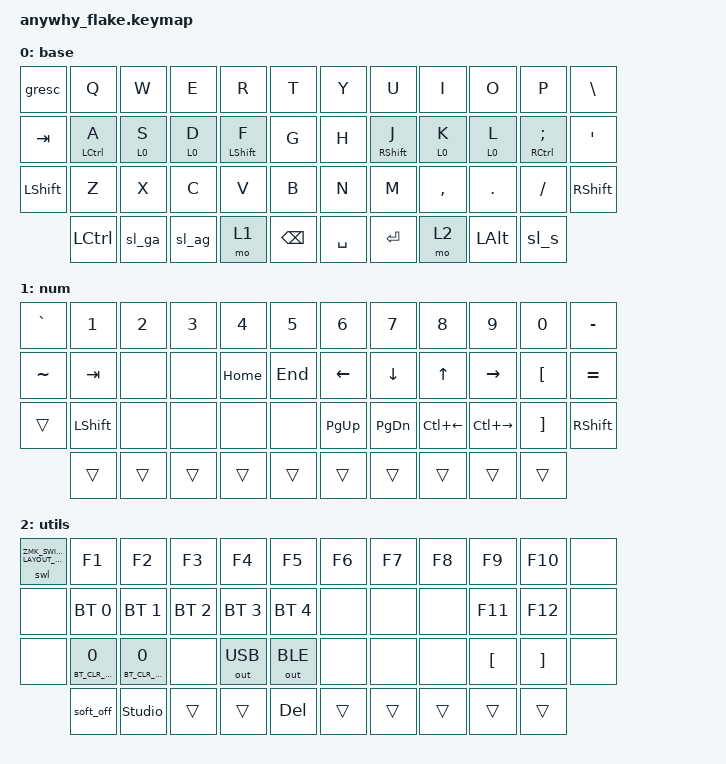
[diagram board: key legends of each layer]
#include <behaviors.dtsi>
#include <dt-bindings/zmk/bt.h>
#include <dt-bindings/zmk/keys.h>
#include <dt-bindings/zmk/outputs.h>
#include <dt-bindings/zmk-switch-layout/switch-layout.h>

&soft_off { hold-time-ms = <2000>; };

#define XXX &none
#define TODO ___
#define ___ &trans
#define NL ZMK_SWITCH_LAYOUT_NEXT

// Home Row Modifiers config
// Inspired by Urob's Timeless HRM config
// https://github.com/urob/zmk-config
#define KEYS_L 46 47 48 49 50 51 0 1 2 3 4 5 12 13 14 15 16 17 24 25 26 27 28 29   // left hand
#define KEYS_R 52 53 54 55 56 57 6 7 8 9 10 11 18 19 20 21 22 23 30 31 32 33 34 35 // right hand
#define THUMBS 36 37 38 39 40 41 42 43 44 45                                       // thumbs

#define TAPPING_TERM_MS 250
#define QUICK_TAP_MS 175
#define PRIOR_IDLE_MS 150

// Macro templates for hold-tap HRM behaviors
// HRM_KP: standard 2-cell hold-tap (hold=kp, tap=kp) with given trigger positions
#define HRM_KP(NAME, LABEL, TRIGGER_POSITIONS) \
    NAME: LABEL { \
        compatible = "zmk,behavior-hold-tap"; \
        #binding-cells = <2>; \
        flavor = "balanced"; \
        tapping-term-ms = <TAPPING_TERM_MS>; \
        quick-tap-ms = <QUICK_TAP_MS>; \
        require-prior-idle-ms = <PRIOR_IDLE_MS>; \
        bindings = <&kp>, <&kp>; \
        hold-trigger-key-positions = <TRIGGER_POSITIONS>; \
        hold-trigger-on-release; \
        retro-tap; \
    };
// HRM_SL: layout-aware hold-tap (hold=switch-layout-key, tap=kp) with given trigger positions
// The first param (hold) is forwarded to the switch-layout-key behavior which ignores it.
#define HRM_SL(NAME, LABEL, HOLD_BEH, TRIGGER_POSITIONS) \
    NAME: LABEL { \
        compatible = "zmk,behavior-hold-tap"; \
        #binding-cells = <2>; \
        flavor = "balanced"; \
        tapping-term-ms = <TAPPING_TERM_MS>; \
        quick-tap-ms = <QUICK_TAP_MS>; \
        require-prior-idle-ms = <PRIOR_IDLE_MS>; \
        bindings = <HOLD_BEH>, <&kp>; \
        hold-trigger-key-positions = <TRIGGER_POSITIONS>; \
        hold-trigger-on-release; \
        retro-tap; \
    };

// SL: switch-layout-key with given keycodes for each layout (layout0, layout1)
#define SL(NAME, LABEL, KEY0, KEY1) \
    NAME: LABEL { \
        compatible = "zmk-switch-layout,behavior-switch-layout-key"; \
        #binding-cells = <0>; \
        bindings = <&kp KEY0>, <&kp KEY1>; \
    };

/ {
    behaviors {
        // Switch layout behavior, used for switching between Windows and Mac layouts
        swl: switch_layout {
            compatible = "zmk-switch-layout,behavior-switch-layout-mode";
            #binding-cells = <1>;
            layout-count = <2>;
            default-layout = <0>;
        };
        sl_s: switch_layout_snapshot {
            compatible = "zmk-switch-layout,behavior-switch-layout-key";
            #binding-cells = <0>;
            bindings = <&snap_win>, <&snap_mac_clip>;
        };
        // Switch Layout keys: (Eg. swap LGUI for Windows and LALT for Mac)
        SL(sl_ga, switch_layout_gui_alt, LGUI, LALT)
        SL(sl_ag, switch_layout_alt_gui, LALT, LGUI)

        // Define standard HRM behaviors like Tap for A, hold for LCTRL, etc. for both hands, using the HRM_KP macro template. The trigger positions are set to the home row keys
        HRM_KP(hml, hml, KEYS_R THUMBS)
        HRM_KP(hmr, hmr, KEYS_L THUMBS)
        // Layout-aware HRM variants: Tap sends keycode, hold sends LGUI (Win) or LALT (Mac) and vice-versa
        HRM_SL(hml_ga, hml_gui_alt, &sl_ga, KEYS_R THUMBS)
        HRM_SL(hml_ag, hml_alt_gui, &sl_ag, KEYS_R THUMBS)
        HRM_SL(hmr_ga, hmr_gui_alt, &sl_ga, KEYS_L THUMBS)
        HRM_SL(hmr_ag, hmr_alt_gui, &sl_ag, KEYS_L THUMBS)

        // Hold-to-activate for destructive BT actions (hold=&bt, tap=kp 0 = HID reserved/noop)
        bt_clr: bt_clear_hold_tap {
            compatible = "zmk,behavior-hold-tap";
            #binding-cells = <2>;
            tapping-term-ms = <2000>;
            flavor = "hold-preferred";
            bindings = <&bt>, <&kp>;
        };
    };

    chosen {
        zmk,kscan = &kscan0;
        zmk,physical-layout = &medium_layout;
    };

    macros {
        snap_win: snapshot_win {
            compatible = "zmk,behavior-macro";
            #binding-cells = <0>;
            bindings =
                <&macro_press>,
                <&kp LEFT_WIN &kp LEFT_SHIFT>,
                <&macro_tap>,
                <&kp S>,
                <&macro_release>,
                <&kp LEFT_WIN &kp LEFT_SHIFT>;

            label = "SNAPSHOT_WIN";
        };

        snap_mac_clip: snapshot_mac_clip {
            compatible = "zmk,behavior-macro";
            #binding-cells = <0>;
            bindings =
                <&macro_press>,
                <&kp LEFT_COMMAND &kp LEFT_CONTROL &kp LEFT_SHIFT>,
                <&macro_tap>,
                <&kp NUMBER_4>,
                <&macro_release>,
                <&kp LEFT_COMMAND &kp LEFT_CONTROL &kp LEFT_SHIFT>;

            label = "SNAPSHOT_MAC_CLIP";
        };

        snap_mac_file: snapshot_mac_file {
            compatible = "zmk,behavior-macro";
            #binding-cells = <0>;
            bindings =
                <&macro_press>,
                <&kp LEFT_COMMAND &kp LEFT_SHIFT>,
                <&macro_tap>,
                <&kp NUMBER_4>,
                <&macro_release>,
                <&kp LEFT_COMMAND &kp LEFT_SHIFT>;

            label = "SNAPSHOT_MAC_FILE";
        };
    };

    keymap {
        compatible = "zmk,keymap";

        base {
            bindings = <
&gresc      &kp Q         &kp W        &kp E        &kp R        &kp T               &kp Y      &kp U         &kp I        &kp O        &kp P            &kp BSLH
&kp TAB     &hml LCTRL A  &hml_ga 0 S  &hml_ag 0 D  &hml LSHFT F &kp G               &kp H      &hmr RSHFT J  &hmr_ga 0 K  &hmr_ag 0 L  &hmr RCTRL SEMI  &kp APOS
&kp LSHFT   &kp Z         &kp X        &kp C        &kp V        &kp B               &kp N      &kp M         &kp COMMA    &kp DOT      &kp FSLH         &kp RSHFT
            &kp LCTRL     &sl_ga       &sl_ag       &mo 1        &kp BACKSPACE       &kp SPACE  &kp ENTER     &mo 2        &kp LALT     &sl_s
            >;
        };

        num {
            bindings = <
&kp GRAVE   &kp N1      &kp N2       &kp N3    &kp N4    &kp N5            &kp N6     &kp N7       &kp N8         &kp N9        &kp N0     &kp MINUS
&kp TILDE   &kp TAB     &none        &none     &kp HOME  &kp END           &kp LEFT   &kp DOWN     &kp UP         &kp RIGHT     &kp LBKT   &kp EQUAL
&trans      &kp LSHFT   &none        &none     &none     &none             &kp PG_UP  &kp PG_DN    &kp LC(LEFT)   &kp LC(RIGHT) &kp RBKT    &kp RSHFT
            &trans      &trans       &trans    &trans    &trans            &trans     &trans       &trans         &trans        &trans
            >;
        };

        utils {
        bindings = <
&swl NL &kp F1           &kp F2               &kp F3        &kp F4        &kp F5             &kp F6  &kp F7      &kp F8        &kp F9        &kp F10     &none
&none   &bt BT_SEL 0     &bt BT_SEL 1         &bt BT_SEL 2  &bt BT_SEL 3  &bt BT_SEL 4       &none   &none       &none         &kp F11       &kp F12     &none
&none   &bt_clr BT_CLR_CMD 0 &bt_clr BT_CLR_ALL_CMD 0 &none         &out OUT_USB  &out OUT_BLE       &none   &none       &none         &kp LBKT      &kp RBKT    &none
        &soft_off        &studio_unlock       &trans        &trans        &kp DEL            &trans  &trans      &trans        &trans        &trans
        >;
        };
    };
};
